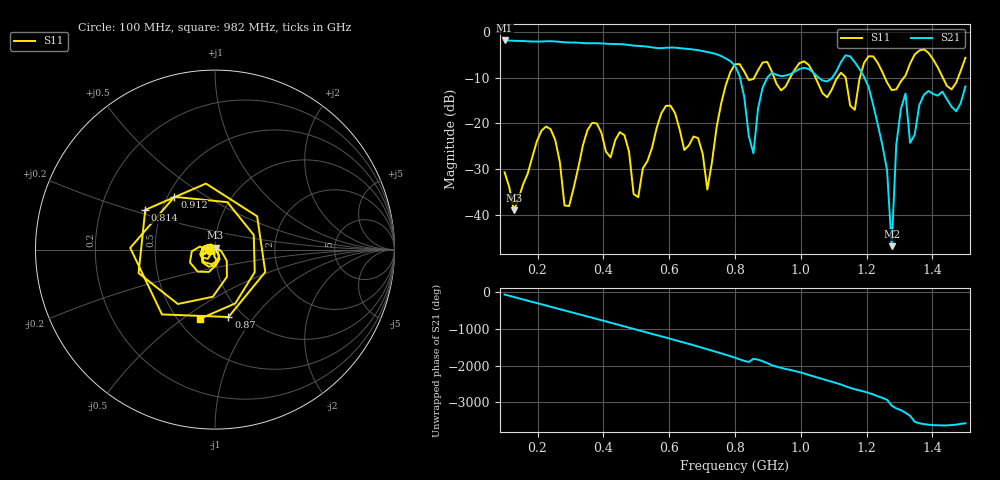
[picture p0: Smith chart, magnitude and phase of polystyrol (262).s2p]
! NanoVNA-App
! Date: 2025-09-25 15:31:55
! Start: 100MHz Stop: 1,5GHz Points: 101
! S-Parameter data: F S11 S21 S12 S22
# Hz S RI R 50
!  Frequency  S11_Real  S11_Imag  S21_Real  S21_Imag  S12_Real  S12_Imag  S22_Real  S22_Imag
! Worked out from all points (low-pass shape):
!   101 points, 100 MHz to 1.5 GHz, reference 50 ohm
!   highest |S21| = -1.80 dB at 100 MHz (marker M1); lowest = -46.9 dB at 1.276 GHz (marker M2)
!   |S21| within 3 dB of the highest: start of sweep to 742.7 MHz
!   lowest |S11| = -39.1 dB at 128 MHz (marker M3), VSWR 1.02, Z = 50.3 + j1.06 ohm
!   |S11| at or under -10 dB: start of sweep to 779.7 MHz; 1.045 GHz to 1.111 GHz (65.76 MHz wide, 6.1 % of centre); 1.256 GHz to 1.312 GHz (56.85 MHz wide, 4.43 % of centre) (the widest 3 of 7)
!   S12 and S22 are empty: the file has one direction only
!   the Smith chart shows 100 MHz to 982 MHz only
!   S11 on the Smith chart (normalised r, x): 100 MHz: 0.94, -0.01; 814 MHz: 0.40, +0.22; 870 MHz: 0.86, -0.75; 912 MHz: 0.54, +0.37; 982 MHz: 0.64, -0.58
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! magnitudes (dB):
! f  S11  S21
! 100 MHz  -30.7  -1.8
! 128 MHz  -39.1  -1.9
! 212 MHz  -21.6  -2.0
! 282 MHz  -38.0  -2.2
! 338 MHz  -24.7  -2.4
! 464 MHz  -22.6  -2.7
! 506 MHz  -36.1  -3.0
! 576 MHz  -17.8  -3.5
! 716 MHz  -34.5  -4.3
! 800 MHz  -7.0  -7.4
! 814 MHz  -7.0  -9.6
! 856 MHz  -10.3  -26.5
! 870 MHz  -8.3  -16.7
! 912 MHz  -8.6  -8.9
! 982 MHz  -8.1  -8.6
! 1.038 GHz  -8.9  -8.9
! 1.192 GHz  -6.7  -9.8
! 1.276 GHz  -12.7  -46.9
! 1.29 GHz  -12.5  -24.7
! 1.318 GHz  -9.5  -13.5
! 1.332 GHz  -6.9  -24.2
! 1.5 GHz  -5.6  -11.9
